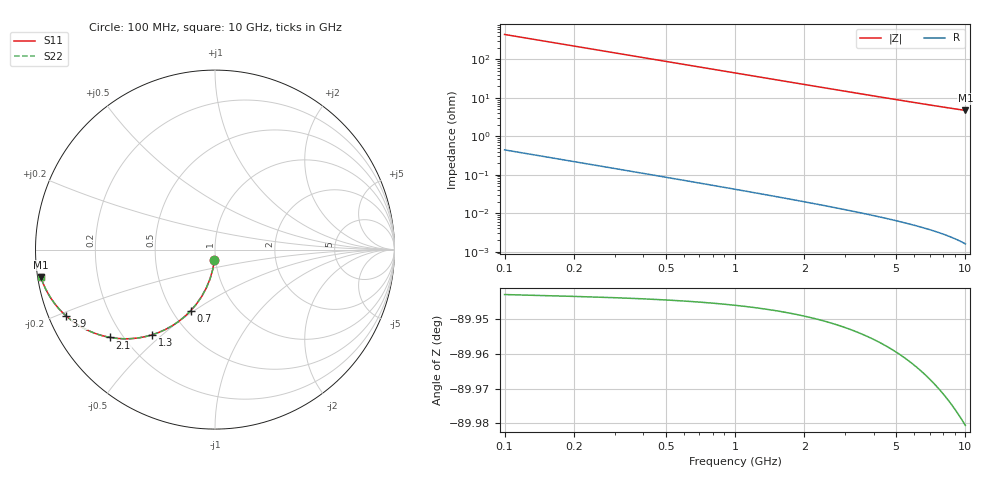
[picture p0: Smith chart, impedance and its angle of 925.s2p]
# Hz S RI R 50.00
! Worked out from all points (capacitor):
!   100 points, 100 MHz to 10 GHz, reference 50 ohm
!   read as one part in shunt: C = 3.59 pF near 100 MHz
!   lowest |Z| = 4.69 ohm at 10 GHz (marker M1)
!   S11 on the Smith chart (normalised r, x): 100 MHz: 0.99, -0.11; 700 MHz: 0.62, -0.48; 1.3 GHz: 0.32, -0.46; 2.1 GHz: 0.15, -0.36; 3.9 GHz: 0.05, -0.21; 10 GHz: 0.01, -0.08
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1e8  -0.0031 -0.0561  0.9966 -0.0564  0.9966 -0.0564  -0.0031 -0.0561
2e8  -0.0126 -0.1112  0.9872 -0.1117  0.9872 -0.1117  -0.0126 -0.1112
3e8  -0.0279 -0.1641  0.9718 -0.165  0.9718 -0.165  -0.0279 -0.1641
4e8  -0.0486 -0.2142  0.9512 -0.2153  0.9512 -0.2153  -0.0486 -0.2142
5e8  -0.0739 -0.2606  0.9259 -0.262  0.9259 -0.262  -0.0739 -0.2606
6e8  -0.103 -0.3028  0.8967 -0.3045  0.8967 -0.3045  -0.103 -0.3028
7e8  -0.1352 -0.3405  0.8646 -0.3425  0.8646 -0.3425  -0.1352 -0.3405
8e8  -0.1695 -0.3737  0.8302 -0.376  0.8302 -0.376  -0.1695 -0.3737
1e9  -0.2418 -0.4263  0.758 -0.4292  0.758 -0.4292  -0.2418 -0.4263
1.3e9  -0.3501 -0.4747  0.6496 -0.4784  0.6496 -0.4784  -0.3501 -0.4747
1.5e9  -0.4177 -0.4905  0.582 -0.4948  0.582 -0.4948  -0.4177 -0.4905
1.8e9  -0.5081 -0.4968  0.4916 -0.502  0.4916 -0.502  -0.5081 -0.4968
2.1e9  -0.5844 -0.4893  0.4153 -0.4953  0.4153 -0.4953  -0.5844 -0.4893
2.4e9  -0.6475 -0.4737  0.3522 -0.4806  0.3522 -0.4806  -0.6475 -0.4737
2.7e9  -0.6993 -0.4541  0.3004 -0.4618  0.3004 -0.4618  -0.6993 -0.4541
3.4e9  -0.7869 -0.404  0.2128 -0.4138  0.2128 -0.4138  -0.7869 -0.404
3.9e9  -0.8294 -0.3698  0.1702 -0.3811  0.1702 -0.3811  -0.8294 -0.3698
4.5e9  -0.8664 -0.333  0.1333 -0.346  0.1333 -0.346  -0.8664 -0.333
5.1e9  -0.893 -0.3009  0.1066 -0.3157  0.1066 -0.3157  -0.893 -0.3009
6.7e9  -0.9354 -0.235  0.0641 -0.2546  0.0641 -0.2546  -0.9354 -0.235
8.4e9  -0.9582 -0.1863  0.0412 -0.2111  0.0412 -0.2111  -0.9582 -0.1863
1e10  -0.9704 -0.1529  0.0288 -0.1827  0.0288 -0.1827  -0.9704 -0.1529
